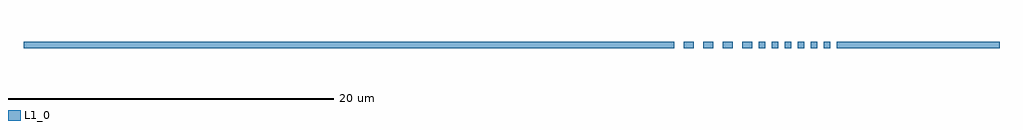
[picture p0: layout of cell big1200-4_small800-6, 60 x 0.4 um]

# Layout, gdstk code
import gdstk
lib = gdstk.Library(unit=1e-6, precision=1e-09)
def R(c, l, rs):  # rectangles x0, y0, x1, y1
    for r in rs: c.add(gdstk.rectangle(r[:2], r[2:], *l))
def A(c, l, x, y, w, h, nx, ny, dx, dy):  # array of equal rectangles
    R(c, l, [(x+i*dx, y+j*dy, x+i*dx+w, y+j*dy+h) for i in range(nx) for j in range(ny)])
L1_0 = (1, 0)

big1200_4_small800_6 = lib.new_cell('big1200-4_small800-6')
A(big1200_4_small800_6, L1_0, 0.6, 0, 0.6, 0.4, 4, 1, 1.2, 0)
A(big1200_4_small800_6, L1_0, 5.2, 0, 0.4, 0.4, 6, 1, 0.8, 0)
R(big1200_4_small800_6, L1_0, [(-40,0,0,0.4), (10,0,20,0.4)])

lib.write_gds('big1200-4_small800-6.gds')
